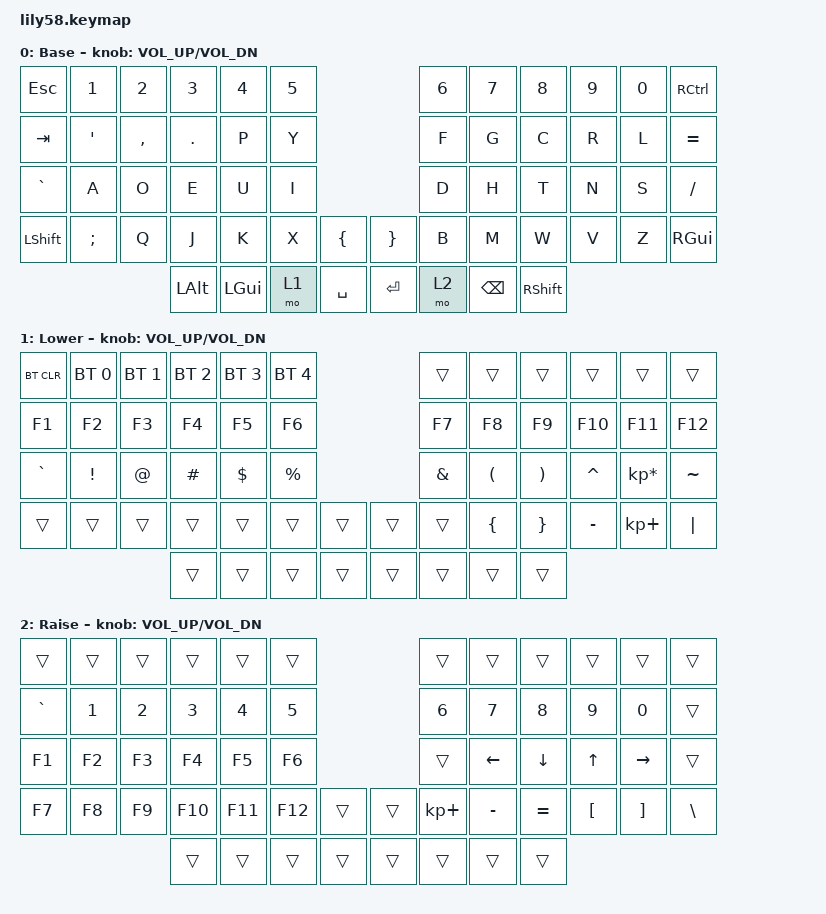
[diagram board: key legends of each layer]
/*
 * Copyright (c) 2020 The ZMK Contributors
 *
 * SPDX-License-Identifier: MIT
 */

#include <behaviors.dtsi>
#include <dt-bindings/zmk/bt.h>
#include <dt-bindings/zmk/keys.h>

/ {
    keymap {
        compatible = "zmk,keymap";

        default_layer {
            // ------------------------------------------------------------------------------------------------------------
            // |  ESC  |  1  |  2  |  3   |  4   |  5   |                   |  6   |  7    |  8    |  9   |   0   |   `   |
            // |  TAB  |  Q  |  W  |  E   |  R   |  T   |                   |  Y   |  U    |  I    |  O   |   P   |   -   |
            // |  CTRL |  A  |  S  |  D   |  F   |  G   |                   |  H   |  J    |  K    |  L   |   ;   |   '   |
            // | SHIFT |  Z  |  X  |  C   |  V   |  B   |   "["  |  |  "]"  |  N   |  M    |  ,    |  .   |   /   | SHIFT |
            //                     | ALT  | GUI  | LOWER|  SPACE |  | ENTER | RAISE| BSPC  | GUI   |

            label = "Base";
            bindings = <
&kp ESC    &kp N1    &kp N2     &kp N3    &kp N4    &kp N5                                     &kp N6  &kp N7    &kp N8           &kp N9  &kp N0  &kp RCTRL
&kp TAB    &kp SQT   &kp COMMA  &kp DOT   &kp P     &kp Y                                      &kp F   &kp G     &kp C            &kp R   &kp L   &kp EQUAL
&kp GRAVE  &kp A     &kp O      &kp E     &kp U     &kp I                                      &kp D   &kp H     &kp T            &kp N   &kp S   &kp FSLH
&kp LSHFT  &kp SEMI  &kp Q      &kp J     &kp K     &kp X   &kp LEFT_BRACE    &kp RIGHT_BRACE  &kp B   &kp M     &kp W            &kp V   &kp Z   &kp RIGHT_GUI
                                &kp LALT  &kp LGUI  &mo 1   &kp SPACE         &kp RET          &mo 2   &kp BSPC  &kp RIGHT_SHIFT
            >;

            sensor-bindings = <&inc_dec_kp C_VOL_UP C_VOL_DN>;
        };

        lower_layer {
            // ------------------------------------------------------------------------------------------------------------
            // | BTCLR | BT1 | BT2 |  BT3 |  BT4 |  BT5 |                   |      |       |       |      |       |       |
            // |  F1   |  F2 |  F3 |  F4  |  F5  |  F6  |                   |  F7  |  F8   |  F9   |  F10 |  F11  |  F12  |
            // |   `   |  !  |  @  |  #   |  $   |  %   |                   |  ^   |  &    |  *    |  (   |   )   |   ~   |
            // |       |     |     |      |      |      |        |  |       |      |  _    |  +    |  {   |   }   |  "|"  |
            //                     |      |      |      |        |  |       |      |       |       |

            label = "Lower";
            bindings = <
&bt BT_CLR  &bt BT_SEL 0  &bt BT_SEL 1  &bt BT_SEL 2  &bt BT_SEL 3  &bt BT_SEL 4                    &trans    &trans    &trans    &trans     &trans           &trans
&kp F1      &kp F2        &kp F3        &kp F4        &kp F5        &kp F6                          &kp F7    &kp F8    &kp F9    &kp F10    &kp F11          &kp F12
&kp GRAVE   &kp EXCL      &kp AT        &kp HASH      &kp DOLLAR    &kp PRCNT                       &kp AMPS  &kp LPAR  &kp RPAR  &kp CARET  &kp KP_MULTIPLY  &kp TILDE
&trans      &trans        &trans        &trans        &trans        &trans        &trans    &trans  &trans    &kp LBRC  &kp RBRC  &kp MINUS  &kp KP_PLUS      &kp PIPE
                                        &trans        &trans        &trans        &trans    &trans  &trans    &trans    &trans
            >;

            sensor-bindings = <&inc_dec_kp C_VOL_UP C_VOL_DN>;
        };

        raise_layer {
            // ------------------------------------------------------------------------------------------------------------
            // |       |     |     |      |      |      |                   |      |       |       |      |       |       |
            // |   `   |  1  |  2  |  3   |  4   |  5   |                   |  6   |   7   |   8   |  9   |   0   |       |
            // |   F1  |  F2 |  F3 |  F4  |  F5  |  F6  |                   |      |   <-  |   v   |  ^   |  ->   |       |
            // |   F7  |  F8 |  F9 |  F10 |  F11 |  F12 |        |  |       |  +   |   -   |   =   |  [   |   ]   |   \   |
            //                     |      |      |      |        |  |       |      |       |       |

            label = "Raise";
            bindings = <
&trans     &trans  &trans  &trans   &trans   &trans                     &trans       &trans     &trans     &trans    &trans     &trans
&kp GRAVE  &kp N1  &kp N2  &kp N3   &kp N4   &kp N5                     &kp N6       &kp N7     &kp N8     &kp N9    &kp N0     &trans
&kp F1     &kp F2  &kp F3  &kp F4   &kp F5   &kp F6                     &trans       &kp LEFT   &kp DOWN   &kp UP    &kp RIGHT  &trans
&kp F7     &kp F8  &kp F9  &kp F10  &kp F11  &kp F12  &trans    &trans  &kp KP_PLUS  &kp MINUS  &kp EQUAL  &kp LBKT  &kp RBKT   &kp BSLH
                           &trans   &trans   &trans   &trans    &trans  &trans       &trans     &trans
            >;

            sensor-bindings = <&inc_dec_kp C_VOL_UP C_VOL_DN>;
        };
    };
};
